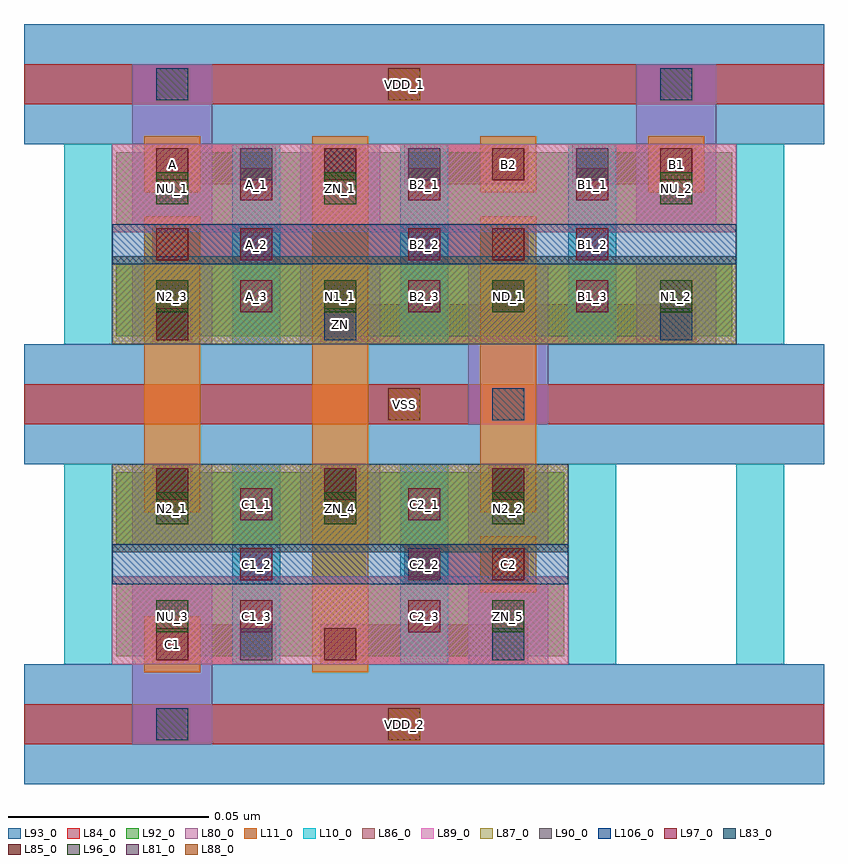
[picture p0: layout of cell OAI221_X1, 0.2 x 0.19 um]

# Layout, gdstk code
import gdstk
lib = gdstk.Library(unit=1e-6, precision=1e-09)
def R(c, l, rs):  # rectangles x0, y0, x1, y1
    for r in rs: c.add(gdstk.rectangle(r[:2], r[2:], *l))
def A(c, l, x, y, w, h, nx, ny, dx, dy):  # array of equal rectangles
    R(c, l, [(x+i*dx, y+j*dy, x+i*dx+w, y+j*dy+h) for i in range(nx) for j in range(ny)])
L10_0 = (10, 0)
L11_0 = (11, 0)
L80_0 = (80, 0)
L81_0 = (81, 0)
L83_0 = (83, 0)
L84_0 = (84, 0)
L85_0 = (85, 0)
L86_0 = (86, 0)
L87_0 = (87, 0)
L88_0 = (88, 0)
L89_0 = (89, 0)
L90_0 = (90, 0)
L92_0 = (92, 0)
L93_0 = (93, 0)
L96_0 = (96, 0)
L97_0 = (97, 0)
L106_0 = (106, 0)

oai221_x1 = lib.new_cell('OAI221_X1')
A(oai221_x1, L10_0, -0.027, -0.065, 0.012, 0.05, 5, 2, 0.042, 0.08)
A(oai221_x1, L11_0, 0.035, -0.067, 0.014, 0.034, 1, 5, 0, 0.02)
A(oai221_x1, L11_0, -0.007, 0.053, 0.014, 0.014, 4, 1, 0.042, 0)
R(oai221_x1, L11_0, [(-0.007,-0.067,0.007,-0.053), (0.077,-0.047,0.091,-0.033), (-0.007,-0.027,0.007,0.007), (0.077,-0.027,0.091,0.047), (-0.007,-0.007,0.007,0.047), (0.035,0.013,0.049,0.047), (0.035,0.033,0.049,0.067)])
A(oai221_x1, L80_0, -0.01, 0.015, 0.02, 0.02, 4, 1, 0.042, 0)
R(oai221_x1, L80_0, [(-0.01,-0.085,0.01,-0.064), (-0.01,-0.065,0.01,-0.045), (0.074,-0.065,0.094,-0.045), (-0.01,-0.035,0.01,-0.015), (-0.01,-0.035,0.01,-0.015), (0.032,-0.035,0.052,-0.015), (0.032,-0.035,0.052,-0.015), (0.074,-0.035,0.094,-0.015), (0.074,-0.035,0.094,-0.015), (0.074,-0.005,0.094,0.016), (-0.01,0.045,0.01,0.065), (-0.01,0.045,0.01,0.065), (0.032,0.045,0.052,0.065), (0.032,0.045,0.052,0.065), (0.116,0.045,0.136,0.065), (0.116,0.045,0.136,0.065), (-0.01,0.056,0.01,0.085), (0.116,0.056,0.136,0.085)])
A(oai221_x1, L81_0, 0.017, 0.056, 0.008, 0.008, 3, 1, 0.042, 0)
R(oai221_x1, L81_0, [(0.017,-0.064,0.025,-0.056), (0.059,-0.044,0.067,-0.036)])
A(oai221_x1, L83_0, -0.004, -0.024, 0.008, 0.008, 3, 1, 0.042, 0)
R(oai221_x1, L83_0, [(-0.004,-0.084,0.004,-0.076), (0.08,-0.064,0.088,-0.056), (0.08,-0.004,0.088,0.004), (-0.004,0.016,0.004,0.024), (0.038,0.016,0.046,0.024), (0.122,0.016,0.13,0.024), (0.038,0.056,0.046,0.064), (0.038,0.056,0.046,0.064), (0.038,0.056,0.046,0.064), (-0.004,0.076,0.004,0.084), (0.122,0.076,0.13,0.084)])
A(oai221_x1, L84_0, -0.037, -0.085, 0.2, 0.01, 1, 3, 0, 0.08)
A(oai221_x1, L84_0, -0.005, -0.025, 0.01, 0.01, 3, 1, 0.042, 0)
A(oai221_x1, L84_0, 0.037, 0.015, 0.031, 0.01, 4, 1, 0.021, 0)
A(oai221_x1, L84_0, -0.005, 0.035, 0.031, 0.01, 4, 1, 0.021, 0)
R(oai221_x1, L84_0, [(-0.005,-0.065,0.026,-0.055), (0.037,-0.065,0.068,-0.055), (0.058,-0.065,0.089,-0.055), (0.058,-0.045,0.089,-0.035), (-0.005,0.015,0.005,0.025), (-0.005,0.055,0.026,0.065), (0.037,0.055,0.047,0.065), (0.058,0.055,0.089,0.065), (0.1,0.055,0.131,0.065)])
A(oai221_x1, L85_0, -0.004, -0.024, 0.008, 0.008, 3, 1, 0.042, 0)
A(oai221_x1, L85_0, -0.004, 0.056, 0.008, 0.008, 4, 1, 0.042, 0)
R(oai221_x1, L85_0, [(-0.004,-0.064,0.004,-0.056), (0.038,-0.064,0.046,-0.056), (0.08,-0.044,0.088,-0.036), (-0.004,0.016,0.004,0.024), (-0.004,0.036,0.004,0.044), (0.08,0.036,0.088,0.044)])
R(oai221_x1, L86_0, [(-0.015,-0.065,0.099,-0.043), (-0.015,0.043,0.141,0.065)])
R(oai221_x1, L87_0, [(-0.015,-0.037,0.099,-0.015), (-0.015,0.015,0.141,0.037)])
A(oai221_x1, L88_0, 0.054, -0.084, 0.008, 0.008, 1, 3, 0, 0.08)
R(oai221_x1, L89_0, [(-0.015,-0.065,0.099,-0.043), (-0.015,0.043,0.141,0.065)])
R(oai221_x1, L90_0, [(-0.015,-0.037,0.099,-0.015), (-0.015,0.015,0.141,0.037)])
R(oai221_x1, L92_0, [(-0.014,-0.063,0.098,-0.045), (-0.014,-0.035,0.098,-0.017), (-0.014,0.017,0.14,0.035), (-0.014,0.045,0.14,0.063)])
A(oai221_x1, L93_0, -0.037, -0.095, 0.2, 0.03, 1, 3, 0, 0.08)
A(oai221_x1, L96_0, -0.004, -0.03, 0.008, 0.008, 3, 1, 0.042, 0)
A(oai221_x1, L96_0, -0.004, 0.023, 0.008, 0.008, 4, 1, 0.042, 0)
R(oai221_x1, L96_0, [(-0.004,-0.057,0.004,-0.049), (0.08,-0.057,0.088,-0.049), (-0.004,0.05,0.004,0.058), (0.038,0.05,0.046,0.058), (0.122,0.05,0.13,0.058)])
A(oai221_x1, L97_0, 0.017, 0.023, 0.008, 0.008, 3, 2, 0.042, 0.013)
A(oai221_x1, L97_0, 0.017, 0.051, 0.008, 0.008, 3, 1, 0.042, 0)
R(oai221_x1, L97_0, [(0.017,-0.057,0.025,-0.049), (0.059,-0.057,0.067,-0.049), (0.017,-0.044,0.025,-0.036), (0.059,-0.044,0.067,-0.036), (0.017,-0.029,0.025,-0.021), (0.059,-0.029,0.067,-0.021)])
R(oai221_x1, L106_0, [(-0.015,-0.045,0.099,-0.035), (-0.015,0.035,0.141,0.045)])
oai221_x1.add(gdstk.Label('C2', (0.084,-0.04), layer=31, texttype=0))
oai221_x1.add(gdstk.Label('C1', (0,-0.06), layer=31, texttype=0))
oai221_x1.add(gdstk.Label('B1', (0.126,0.06), layer=31, texttype=0))
oai221_x1.add(gdstk.Label('B2', (0.084,0.06), layer=31, texttype=0))
oai221_x1.add(gdstk.Label('A', (0,0.06), layer=31, texttype=0))
oai221_x1.add(gdstk.Label('ZN', (0.042,0.02), layer=31, texttype=0))
oai221_x1.add(gdstk.Label('VDD_2', (0.058,-0.08), layer=88, texttype=0))
oai221_x1.add(gdstk.Label('VSS', (0.058,0), layer=88, texttype=0))
oai221_x1.add(gdstk.Label('VDD_1', (0.058,0.08), layer=88, texttype=0))
oai221_x1.add(gdstk.Label('A_3', (0.021,0.027), layer=97, texttype=0))
oai221_x1.add(gdstk.Label('A_1', (0.021,0.055), layer=97, texttype=0))
oai221_x1.add(gdstk.Label('A_2', (0.021,0.04), layer=97, texttype=0))
oai221_x1.add(gdstk.Label('B2_1', (0.063,0.055), layer=97, texttype=0))
oai221_x1.add(gdstk.Label('B2_2', (0.063,0.04), layer=97, texttype=0))
oai221_x1.add(gdstk.Label('B2_3', (0.063,0.027), layer=97, texttype=0))
oai221_x1.add(gdstk.Label('B1_2', (0.105,0.04), layer=97, texttype=0))
oai221_x1.add(gdstk.Label('B1_1', (0.105,0.055), layer=97, texttype=0))
oai221_x1.add(gdstk.Label('B1_3', (0.105,0.027), layer=97, texttype=0))
oai221_x1.add(gdstk.Label('C2_3', (0.063,-0.053), layer=97, texttype=0))
oai221_x1.add(gdstk.Label('C2_2', (0.063,-0.04), layer=97, texttype=0))
oai221_x1.add(gdstk.Label('C2_1', (0.063,-0.025), layer=97, texttype=0))
oai221_x1.add(gdstk.Label('C1_3', (0.021,-0.053), layer=97, texttype=0))
oai221_x1.add(gdstk.Label('C1_1', (0.021,-0.025), layer=97, texttype=0))
oai221_x1.add(gdstk.Label('C1_2', (0.021,-0.04), layer=97, texttype=0))
oai221_x1.add(gdstk.Label('NU_1', (0,0.054), layer=96, texttype=0))
oai221_x1.add(gdstk.Label('N2_3', (0,0.027), layer=96, texttype=0))
oai221_x1.add(gdstk.Label('ZN_1', (0.042,0.054), layer=96, texttype=0))
oai221_x1.add(gdstk.Label('N1_1', (0.042,0.027), layer=96, texttype=0))
oai221_x1.add(gdstk.Label('ND_1', (0.084,0.027), layer=96, texttype=0))
oai221_x1.add(gdstk.Label('N1_2', (0.126,0.027), layer=96, texttype=0))
oai221_x1.add(gdstk.Label('NU_2', (0.126,0.054), layer=96, texttype=0))
oai221_x1.add(gdstk.Label('N2_2', (0.084,-0.026), layer=96, texttype=0))
oai221_x1.add(gdstk.Label('ZN_5', (0.084,-0.053), layer=96, texttype=0))
oai221_x1.add(gdstk.Label('ZN_4', (0.042,-0.026), layer=96, texttype=0))
oai221_x1.add(gdstk.Label('NU_3', (0,-0.053), layer=96, texttype=0))
oai221_x1.add(gdstk.Label('N2_1', (0,-0.026), layer=96, texttype=0))

lib.write_gds('OAI221_X1.gds')
